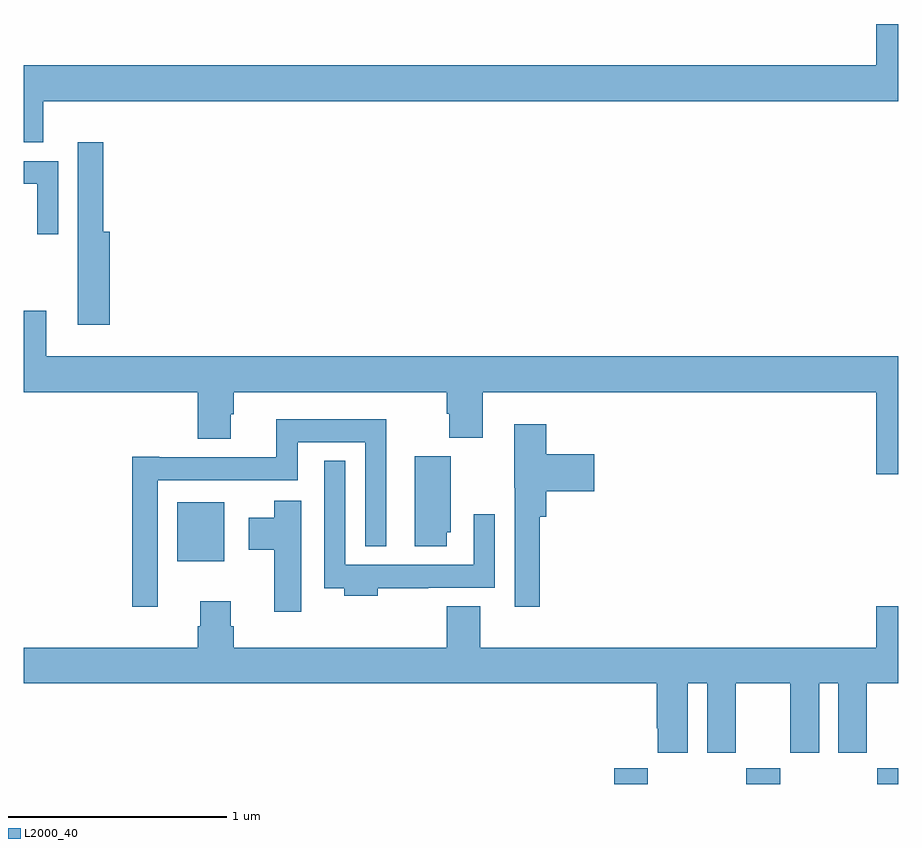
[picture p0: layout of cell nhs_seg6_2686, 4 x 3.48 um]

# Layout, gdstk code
import gdstk
lib = gdstk.Library(unit=1e-6, precision=1e-09)
def R(c, l, rs):  # rectangles x0, y0, x1, y1
    for r in rs: c.add(gdstk.rectangle(r[:2], r[2:], *l))
def P(c, l, *ps):  # polygons
    for p in ps: c.add(gdstk.Polygon(p, *l))
L2000_40 = (2000, 40)

nhs_seg6_2686 = lib.new_cell('nhs_seg6_2686')
R(nhs_seg6_2686, L2000_40, [(271.7,989.5,271.855,989.572), (272.305,989.5,272.46,989.572), (272.905,989.5,273,989.572), (269.702,990.518,269.917,990.79)])
P(nhs_seg6_2686, L2000_40, [(269.089,992.624),(273,992.624),(273,992.977),(272.9,992.977),(272.9,992.788),(269,992.788),(269,992.435),(269.089,992.435)],
  [(269.393,992.026),(269.363,992.026),(269.363,992.437),(269.247,992.437),(269.247,991.922),(269.246,991.922),(269.246,991.602),(269.393,991.602)],
  [(269.157,992.35),(269,992.35),(269,992.246),(269.061,992.246),(269.061,992.016),(269.157,992.016)],
  [(273,991.456),(269.102,991.456),(269.102,991.665),(269,991.665),(269,991.292),(269.795,991.292),(269.795,991.079),(269.947,991.079),(269.947,991.191),(269.96,991.191),(269.96,991.292),(270.935,991.292),(270.935,991.193),(270.947,991.193),(270.947,991.084),(271.1,991.084),(271.1,991.292),(272.9,991.292),(272.9,990.918),(273,990.918)],
  [(269.613,990.89),(270.252,990.89),(270.252,991.064),(270.561,991.064),(270.561,990.587),(270.658,990.587),(270.658,991.168),(270.155,991.168),(270.155,990.994),(269.62,990.994),(269.62,990.997),(269.497,990.997),(269.497,990.312),(269.613,990.312)],
  [(271.361,990.722),(271.391,990.722),(271.391,990.839),(271.609,990.839),(271.609,991.009),(271.391,991.009),(271.391,991.147),(271.244,991.147),(271.244,990.855),(271.245,990.855),(271.245,990.312),(271.361,990.312)],
  [(270.934,990.651),(270.952,990.651),(270.952,990.999),(270.788,990.999),(270.788,990.588),(270.934,990.588)],
  [(270.62,990.396),(270.851,990.396),(270.851,990.398),(271.155,990.398),(271.155,990.733),(271.059,990.733),(271.059,990.502),(270.471,990.502),(270.471,990.979),(270.375,990.979),(270.375,990.396),(270.467,990.396),(270.467,990.362),(270.62,990.362)],
  [(270.268,990.796),(270.146,990.796),(270.146,990.718),(270.029,990.718),(270.029,990.571),(270.146,990.571),(270.146,990.288),(270.268,990.288)],
  [(272.038,989.96),(272.126,989.96),(272.126,989.643),(272.257,989.643),(272.257,989.96),(272.507,989.96),(272.507,989.643),(272.638,989.643),(272.638,989.96),(272.726,989.96),(272.726,989.643),(272.857,989.643),(272.857,989.96),(273,989.96),(273,990.313),(272.9,990.313),(272.9,990.124),(271.087,990.124),(271.087,990.313),(270.935,990.313),(270.935,990.124),(269.96,990.124),(269.96,990.222),(269.947,990.222),(269.947,990.337),(269.807,990.337),(269.807,990.222),(269.795,990.222),(269.795,990.124),(269,990.124),(269,989.96),(271.895,989.96),(271.895,989.755),(271.901,989.755),(271.901,989.643),(272.038,989.643)])

lib.write_gds('nhs_seg6_2686.gds')
